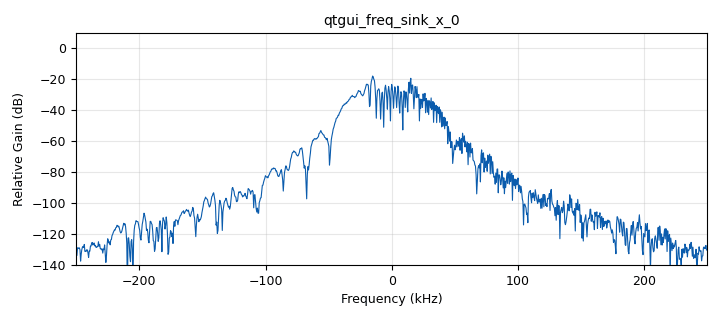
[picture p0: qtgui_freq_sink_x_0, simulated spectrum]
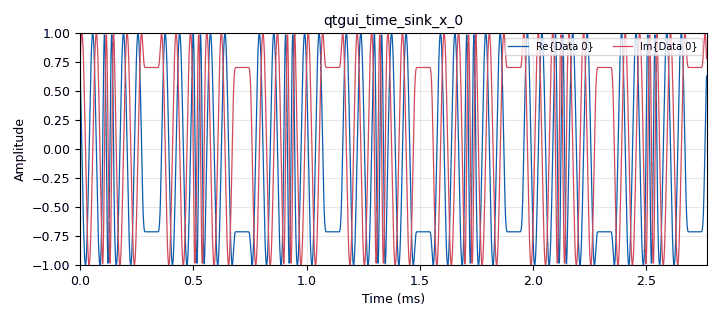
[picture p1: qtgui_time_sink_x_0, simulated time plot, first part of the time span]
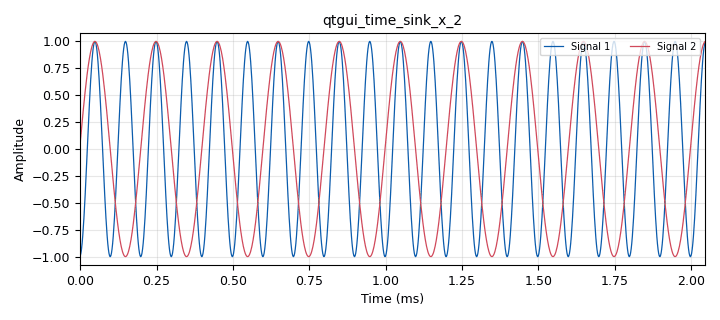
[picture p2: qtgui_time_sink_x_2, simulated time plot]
options:
  parameters:
    generate_options: qt_gui
    id: test2
    output_language: python
    title: Not titled yet
  states: {}

blocks:
- name: delay
  id: variable_qtgui_range
  parameters:
    start: '0'
    step: '1'
    stop: '20000'
    value: '5000'
  states: {state: disabled}
- name: delay
  id: variable
  parameters:
    value: variable_function_probe_0
  states: {}
- name: frequency
  id: variable
  parameters:
    value: '10000'
  states: {}
- name: samp_rate
  id: variable
  parameters:
    value: '500000'
  states: {}
- name: variable_0
  id: variable
  parameters:
    value: (10000,5000,2500,1250)
  states: {}
- name: variable_function_probe_0
  id: variable_function_probe
  parameters:
    block_id: Something
    function_name: blocks_probe_signal_x_0
    poll_rate: samp_rate
    value: '5000'
  states: {}
- name: variable_qtgui_chooser_0
  id: variable_qtgui_chooser
  parameters:
    num_opts: '3'
    option0: '0'
    option1: '1000'
    option2: '2'
    type: int
    value: '0'
  states: {}
- name: variable_qtgui_range_0
  id: variable_qtgui_range
  parameters:
    start: '0'
    step: '0.05'
    stop: '100'
    value: '0'
  states: {}
- name: analog_agc_xx_0
  id: analog_agc_xx
  parameters:
    gain: '1'
    max_gain: '65536'
    rate: '1e-4'
    reference: '1.0'
    type: complex
  states: {}
- name: analog_noise_source_x_0
  id: analog_noise_source_x
  parameters:
    amp: variable_qtgui_range_0
    noise_type: analog.GR_GAUSSIAN
    seed: '0'
    type: complex
  states: {}
- name: analog_sig_source_x_0_0
  id: analog_sig_source_x
  parameters:
    amp: '1'
    freq: '10000'
    offset: '0'
    phase: '0'
    samp_rate: samp_rate
    type: complex
    waveform: analog.GR_COS_WAVE
  states: {}
- name: analog_sig_source_x_0_0_0
  id: analog_sig_source_x
  parameters:
    amp: '1'
    freq: '5000'
    offset: '0'
    phase: '0'
    samp_rate: samp_rate
    type: complex
    waveform: analog.GR_COS_WAVE
  states: {}
- name: analog_sig_source_x_0_0_0_0
  id: analog_sig_source_x
  parameters:
    amp: '1'
    freq: frequency/4
    offset: '0'
    phase: '0'
    samp_rate: samp_rate
    type: complex
    waveform: analog.GR_COS_WAVE
  states: {}
- name: analog_sig_source_x_0_0_0_1
  id: analog_sig_source_x
  parameters:
    amp: '1'
    freq: frequency/8
    offset: '0'
    phase: '0'
    samp_rate: samp_rate
    type: complex
    waveform: analog.GR_COS_WAVE
  states: {}
- name: blocks_add_xx_0
  id: blocks_add_xx
  parameters:
    type: complex
  states: {}
- name: blocks_complex_to_float_0
  id: blocks_complex_to_float
  parameters: {}
  states: {}
- name: blocks_complex_to_float_1
  id: blocks_complex_to_float
  parameters: {}
  states: {}
- name: blocks_complex_to_float_2_0
  id: blocks_complex_to_float
  parameters: {}
  states: {state: disabled}
- name: blocks_complex_to_interleaved_char_0
  id: blocks_complex_to_interleaved_char
  parameters:
    scale_factor: '1.0'
    vector_output: 'False'
  states: {}
- name: blocks_delay_0
  id: blocks_delay
  parameters:
    delay: delay
    type: complex
  states: {}
- name: blocks_delay_0_0
  id: blocks_delay
  parameters:
    delay: delay
    type: complex
  states: {state: disabled}
- name: blocks_delay_0_1
  id: blocks_delay
  parameters:
    delay: delay
    type: complex
  states: {state: disabled}
- name: blocks_delay_0_2
  id: blocks_delay
  parameters:
    delay: delay
    type: complex
  states: {state: disabled}
- name: blocks_delay_0_3
  id: blocks_delay
  parameters:
    delay: delay
    type: complex
  states: {state: disabled}
- name: blocks_delay_1
  id: blocks_delay
  parameters:
    delay: '0'
    type: complex
  states: {state: disabled}
- name: blocks_null_sink_0
  id: blocks_null_sink
  parameters:
    type: float
  states: {state: disabled}
- name: blocks_null_sink_1
  id: blocks_null_sink
  parameters:
    type: float
  states: {}
- name: blocks_null_sink_2_0
  id: blocks_null_sink
  parameters:
    type: float
  states: {}
- name: blocks_probe_signal_x_0
  id: blocks_probe_signal_x
  parameters:
    type: float
  states: {}
- name: blocks_stream_mux_0
  id: blocks_stream_mux
  parameters:
    lengths: variable_0
    num_inputs: '4'
    type: complex
  states: {}
- name: blocks_stream_mux_0_1
  id: blocks_stream_mux
  parameters:
    lengths: variable_0
    num_inputs: '4'
    type: complex
  states: {state: disabled}
- name: blocks_throttle_0
  id: blocks_throttle
  parameters:
    samples_per_second: samp_rate
    type: complex
  states: {}
- name: channels_channel_model_0
  id: channels_channel_model
  parameters:
    epsilon: '1.0'
    freq_offset: '0.0'
    noise_voltage: '1'
    seed: '0'
    taps: 1.0 + 1.0j
  states: {state: disabled}
- name: digital_cpmmod_bc_0
  id: digital_cpmmod_bc
  parameters:
    L: '4'
    mod_index: '0.5'
    samples_per_symbol: '4'
    type: analog.cpm.LRC
  states: {}
- name: epy_block_1
  id: epy_block
  parameters:
    _source_code: |-
      from turtle import delay
      import numpy as np
      from gnuradio import gr

      class CorrelationDelayEstimator(gr.sync_block):
          def __init__(self, vectorsize=18750, sample_rate=500000, delayinitial=0):
              gr.sync_block.__init__(
                  self,
                  name='CorrelationDelayEstimator',
                  in_sig=[np.complex64, np.complex64],
                  out_sig=[np.float32]
              )
              self.vectorsize = vectorsize
              self.range_clock_signal = np.zeros(vectorsize, dtype=np.complex64)
              self.sequential_signal = np.zeros(vectorsize, dtype=np.complex64)
              self.i = 0
              self.j = 0
              self.delayiterator=0
              self.sample_rate = sample_rate
              self.correlation_values = np.zeros(vectorsize, dtype=np.complex64)
              self.delayinitial=delayinitial

          def work(self, input_items, output_items):
              sequential_signal = input_items[0][:]
              range_clock_signal = input_items[1][:]
              num_samples = sequential_signal.shape[0]
              #print(num_samples)
              
             #while there are still values in the buffer
              while self.j < num_samples:
                  if self.i < self.vectorsize:
                      #Take the latest values from the buffer
                      self.range_clock_signal[self.i] = range_clock_signal[self.j]
                      self.sequential_signal[self.i] = sequential_signal[self.j]
                      #output_items[0][self.j] = 0
                      self.i += 1
                      self.j += 1            
                      continue
                  #
                  self.delayiterator+=1
                  output_items[0][0] = self.delayiterator
                  
                  # calculate delay, then return to the while loop
                  self.correlation_values = np.fft.ifft(np.fft.fft(self.range_clock_signal) * np.conj(np.fft.fft(self.sequential_signal)))
                  self.sample_delay_count = np.argmax(np.abs(self.correlation_values))
                  delay = self.vectorsize - self.sample_delay_count
                  delay_in_micro_seconds = 10 ** 6 * delay / self.sample_rate
                  self.delayinitial=10000
                  
                  self.i = 0
                  print(delay)

              self.j = 0
              return 1
    delayinitial: delay
    sample_rate: samp_rate
    vectorsize: '18750'
  states: {}
- name: epy_block_1_0
  id: epy_block
  parameters:
    _source_code: |
      import numpy as np
      from gnuradio import gr

      class CorrelationDelayEstimator(gr.sync_block):
          def __init__(self, vectorsize=18750):
              gr.sync_block.__init__(
                  self,
                  name='CorrelationDelayEstimator',
                  in_sig=[np.float32, np.float32],
                  out_sig=[np.int32]
              )

              self.vectorsize = vectorsize

          def work(self, input_items, output_items):
              x = np.asarray(input_items[0])
              y = np.asarray(input_items[1])

              corr = np.correlate(x, y, mode='full')
              delay = np.argmax(np.abs(corr)) - self.vectorsize + 1

              output_items[0][:] = delay
              return len(output_items[0])
    vectorsize: '18750'
  states: {state: disabled}
- name: qtgui_freq_sink_x_0
  id: qtgui_freq_sink_x
  parameters:
    bw: samp_rate
    fc: '0'
    fftsize: '1024'
    type: complex
  states: {}
- name: qtgui_histogram_sink_x_0
  id: qtgui_histogram_sink_x
  parameters:
    bins: '100'
    size: '1024'
    type: float
    xmax: '20000'
    xmin: '0'
  states: {state: disabled}
- name: qtgui_time_sink_x_0
  id: qtgui_time_sink_x
  parameters:
    entags: 'False'
    size: '50000'
    srate: samp_rate
    type: complex
  states: {}
- name: qtgui_time_sink_x_1
  id: qtgui_time_sink_x
  parameters:
    autoscale: 'True'
    nconnections: '2'
    size: '2048'
    srate: samp_rate
    type: float
  states: {state: disabled}
- name: qtgui_time_sink_x_2
  id: qtgui_time_sink_x
  parameters:
    entags: 'False'
    nconnections: '2'
    size: '1024'
    srate: samp_rate
    type: float
  states: {}
- name: qtgui_time_sink_x_2_0
  id: qtgui_time_sink_x
  parameters:
    entags: 'False'
    size: '1024'
    srate: samp_rate
    type: float
  states: {state: disabled}

connections:
- [analog_agc_xx_0, '0', blocks_complex_to_float_1, '0']
- [analog_agc_xx_0, '0', epy_block_1, '0']
- [analog_noise_source_x_0, '0', blocks_add_xx_0, '1']
- [analog_sig_source_x_0_0, '0', blocks_throttle_0, '0']
- [analog_sig_source_x_0_0_0, '0', blocks_delay_0_1, '0']
- [analog_sig_source_x_0_0_0, '0', blocks_stream_mux_0, '1']
- [analog_sig_source_x_0_0_0_0, '0', blocks_delay_0_3, '0']
- [analog_sig_source_x_0_0_0_0, '0', blocks_stream_mux_0, '2']
- [analog_sig_source_x_0_0_0_1, '0', blocks_delay_0_2, '0']
- [analog_sig_source_x_0_0_0_1, '0', blocks_stream_mux_0, '3']
- [blocks_add_xx_0, '0', analog_agc_xx_0, '0']
- [blocks_complex_to_float_0, '0', qtgui_time_sink_x_2, '1']
- [blocks_complex_to_float_0, '1', blocks_null_sink_1, '0']
- [blocks_complex_to_float_1, '0', qtgui_time_sink_x_2, '0']
- [blocks_complex_to_float_1, '1', blocks_null_sink_2_0, '0']
- [blocks_complex_to_float_2_0, '0', qtgui_time_sink_x_2_0, '0']
- [blocks_complex_to_float_2_0, '1', blocks_null_sink_0, '0']
- [blocks_complex_to_interleaved_char_0, '0', digital_cpmmod_bc_0, '0']
- [blocks_delay_0, '0', blocks_add_xx_0, '0']
- [blocks_delay_0, '0', blocks_delay_1, '0']
- [blocks_delay_0, '0', channels_channel_model_0, '0']
- [blocks_delay_0_0, '0', blocks_stream_mux_0_1, '0']
- [blocks_delay_0_1, '0', blocks_stream_mux_0_1, '1']
- [blocks_delay_0_2, '0', blocks_stream_mux_0_1, '3']
- [blocks_delay_0_3, '0', blocks_stream_mux_0_1, '2']
- [blocks_delay_1, '0', blocks_add_xx_0, '0']
- [blocks_stream_mux_0, '0', blocks_complex_to_float_0, '0']
- [blocks_stream_mux_0, '0', blocks_complex_to_interleaved_char_0, '0']
- [blocks_stream_mux_0, '0', blocks_delay_0, '0']
- [blocks_stream_mux_0, '0', epy_block_1, '1']
- [blocks_stream_mux_0, '0', qtgui_time_sink_x_1, '1']
- [blocks_stream_mux_0_1, '0', blocks_add_xx_0, '0']
- [blocks_throttle_0, '0', blocks_delay_0_0, '0']
- [blocks_throttle_0, '0', blocks_stream_mux_0, '0']
- [channels_channel_model_0, '0', analog_agc_xx_0, '0']
- [channels_channel_model_0, '0', blocks_complex_to_float_1, '0']
- [channels_channel_model_0, '0', epy_block_1, '0']
- [digital_cpmmod_bc_0, '0', blocks_complex_to_float_2_0, '0']
- [digital_cpmmod_bc_0, '0', qtgui_freq_sink_x_0, '0']
- [digital_cpmmod_bc_0, '0', qtgui_time_sink_x_0, '0']
- [epy_block_1, '0', blocks_probe_signal_x_0, '0']

metadata:
  file_format: 1
  grc_version: 3.10.5.1
